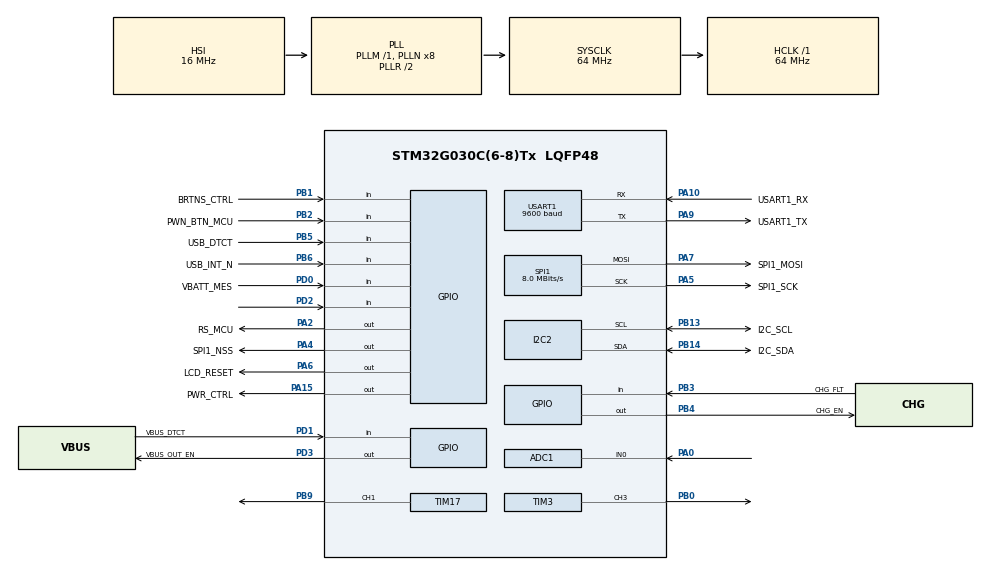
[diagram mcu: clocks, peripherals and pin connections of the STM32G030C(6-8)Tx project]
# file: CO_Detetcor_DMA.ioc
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ADC1.Channel-0\#ChannelRegularConversion=ADC_CHANNEL_0
ADC1.ClockPrescaler=ADC_CLOCK_SYNC_PCLK_DIV4
ADC1.NbrOfConversionFlag=1
ADC1.Rank-0\#ChannelRegularConversion=1
ADC1.SamplingTime-0\#ChannelRegularConversion=ADC_SAMPLINGTIME_COMMON_1
ADC1.SelectedChannel=ADC_CHANNEL_0
ADC1.master=1
Dma.Request0=USART1_RX
Dma.Request1=SPI1_TX
Dma.SPI1_TX.1.Direction=DMA_MEMORY_TO_PERIPH
Dma.SPI1_TX.1.EventEnable=DISABLE
Dma.SPI1_TX.1.Instance=DMA1_Channel2
Dma.SPI1_TX.1.MemDataAlignment=DMA_MDATAALIGN_BYTE
Dma.SPI1_TX.1.MemInc=DMA_MINC_ENABLE
Dma.SPI1_TX.1.Mode=DMA_NORMAL
Dma.SPI1_TX.1.PeriphDataAlignment=DMA_PDATAALIGN_BYTE
Dma.SPI1_TX.1.PeriphInc=DMA_PINC_DISABLE
Dma.SPI1_TX.1.Polarity=HAL_DMAMUX_REQ_GEN_RISING
Dma.SPI1_TX.1.Priority=DMA_PRIORITY_LOW
Dma.SPI1_TX.1.RequestNumber=1
Dma.SPI1_TX.1.SignalID=NONE
Dma.SPI1_TX.1.SyncEnable=DISABLE
Dma.SPI1_TX.1.SyncPolarity=HAL_DMAMUX_SYNC_NO_EVENT
Dma.SPI1_TX.1.SyncRequestNumber=1
Dma.SPI1_TX.1.SyncSignalID=NONE
Dma.USART1_RX.0.Direction=DMA_PERIPH_TO_MEMORY
Dma.USART1_RX.0.EventEnable=DISABLE
Dma.USART1_RX.0.Instance=DMA1_Channel1
Dma.USART1_RX.0.MemDataAlignment=DMA_MDATAALIGN_BYTE
Dma.USART1_RX.0.MemInc=DMA_MINC_ENABLE
Dma.USART1_RX.0.Mode=DMA_CIRCULAR
Dma.USART1_RX.0.PeriphDataAlignment=DMA_PDATAALIGN_BYTE
Dma.USART1_RX.0.PeriphInc=DMA_PINC_DISABLE
Dma.USART1_RX.0.Polarity=HAL_DMAMUX_REQ_GEN_RISING
Dma.USART1_RX.0.Priority=DMA_PRIORITY_LOW
Dma.USART1_RX.0.RequestNumber=1
Dma.USART1_RX.0.SignalID=NONE
Dma.USART1_RX.0.SyncEnable=DISABLE
Dma.USART1_RX.0.SyncPolarity=HAL_DMAMUX_SYNC_NO_EVENT
Dma.USART1_RX.0.SyncRequestNumber=1
Dma.USART1_RX.0.SyncSignalID=NONE
I2C2.Timing=0x10707DBC
IWDG.Prescaler=IWDG_PRESCALER_8
IWDG.Reload=313
Mcu.Family=STM32G0
Mcu.Name=STM32G030C(6-8)Tx
Mcu.Package=LQFP48
NVIC.DMA1_Channel1_IRQn=true\:0\:0\:false\:false\:true\:false\:true\:true
NVIC.DMA1_Channel2_3_IRQn=true\:0\:0\:false\:false\:true\:false\:true\:true
NVIC.RTC_TAMP_IRQn=true\:0\:0\:false\:false\:true\:true\:true\:true
NVIC.USART1_IRQn=true\:0\:0\:false\:false\:true\:true\:true\:true
PA0.Mode=IN0
PA0.Signal=ADC1_IN0
PA10.GPIO_Label=USART1_RX
PA10.Mode=Asynchronous
PA10.Signal=USART1_RX
PA13.Mode=Serial_Wire
PA13.Signal=SYS_SWDIO
PA14-BOOT0.Mode=Serial_Wire
PA14-BOOT0.Signal=SYS_SWCLK
PA15.GPIO_Label=PWR_CTRL
PA15.Signal=GPIO_Output
PA2.GPIO_Label=RS_MCU
PA2.Signal=GPIO_Output
PA4.GPIO_Label=SPI1_NSS
PA4.Signal=GPIO_Output
PA5.GPIO_Label=SPI1_SCK
PA5.Mode=TX_Only_Simplex_Unidirect_Master
PA5.Signal=SPI1_SCK
PA6.GPIO_Label=LCD_RESET
PA6.Signal=GPIO_Output
PA7.GPIO_Label=SPI1_MOSI
PA7.Mode=TX_Only_Simplex_Unidirect_Master
PA7.Signal=SPI1_MOSI
PA9.GPIO_Label=USART1_TX
PA9.Mode=Asynchronous
PA9.Signal=USART1_TX
PB0.Signal=S_TIM3_CH3
PB1.GPIO_Label=BRTNS_CTRL
PB1.Signal=GPIO_Input
PB13.GPIO_Label=I2C_SCL
PB13.Mode=I2C
PB13.Signal=I2C2_SCL
PB14.GPIO_Label=I2C_SDA
PB14.Mode=I2C
PB14.Signal=I2C2_SDA
PB2.GPIO_Label=PWN_BTN_MCU
PB2.GPIO_PuPd=GPIO_PULLDOWN
PB2.Signal=GPIO_Input
PB3.GPIO_Label=CHG_FLT
PB3.Signal=GPIO_Input
PB4.GPIO_Label=CHG_EN
PB4.PinState=GPIO_PIN_RESET
PB4.Signal=GPIO_Output
PB5.GPIO_Label=USB_DTCT
PB5.Signal=GPIO_Input
PB6.GPIO_Label=USB_INT_N
PB6.Signal=GPIO_Input
PB9.Signal=S_TIM17_CH1
PC14-OSC32_IN\ (PC14).Mode=LSE-External-Oscillator
PC14-OSC32_IN\ (PC14).Signal=RCC_OSC32_IN
PC15-OSC32_OUT\ (PC15).Mode=LSE-External-Oscillator
PC15-OSC32_OUT\ (PC15).Signal=RCC_OSC32_OUT
PD0.GPIO_Label=VBATT_MES
PD0.Signal=GPIO_Input
PD1.GPIO_Label=VBUS_DTCT
PD1.Signal=GPIO_Input
PD2.Signal=GPIO_Input
PD3.GPIO_Label=VBUS_OUT_EN
PD3.PinState=GPIO_PIN_SET
PD3.Signal=GPIO_Output
PF0-OSC_IN\ (PF0).Mode=HSE-External-Oscillator
PF0-OSC_IN\ (PF0).Signal=RCC_OSC_IN
PF1-OSC_OUT\ (PF1).Mode=HSE-External-Oscillator
PF1-OSC_OUT\ (PF1).Signal=RCC_OSC_OUT
ProjectManager.HeapSize=0x200
ProjectManager.StackSize=0x400
ProjectManager.TargetToolchain=STM32CubeIDE
RCC.ADCFreq_Value=64000000
RCC.AHBFreq_Value=64000000
RCC.CortexFreq_Value=64000000
RCC.EXTERNAL_CLOCK_VALUE=12288000
RCC.HCLKFreq_Value=64000000
RCC.HSE_VALUE=8000000
RCC.HSI_VALUE=16000000
RCC.SYSCLKFreq_VALUE=64000000
RCC.SYSCLKSource=RCC_SYSCLKSOURCE_PLLCLK
RCC.VCOOutputFreq_Value=128000000
RTC.Alarm-Alarm\ A=RTC_ALARM_A
RTC.Alarm_B-Alarm\ B=RTC_ALARM_B
RTC.HourFormat=RTC_HOURFORMAT_12
SH.S_TIM17_CH1.0=TIM17_CH1,PWM Generation1 CH1
SH.S_TIM3_CH3.0=TIM3_CH3,PWM Generation3 CH3
SPI1.BaudRatePrescaler=SPI_BAUDRATEPRESCALER_8
SPI1.CLKPolarity=SPI_POLARITY_HIGH
SPI1.CalculateBaudRate=8.0 MBits/s
SPI1.Direction=SPI_DIRECTION_2LINES
SPI1.Mode=SPI_MODE_MASTER
SPI1.VirtualType=VM_MASTER
TIM17.Channel=TIM_CHANNEL_1
TIM17.Period=1000
TIM17.Prescaler=32-1
TIM3.AutoReloadPreload=TIM_AUTORELOAD_PRELOAD_ENABLE
TIM3.Channel-PWM\ Generation3\ CH3=TIM_CHANNEL_3
USART1.BaudRate=9600
USART1.VirtualMode-Asynchronous=VM_ASYNC
VP_IWDG_VS_IWDG.Mode=IWDG_Activate
VP_RTC_VS_RTC_Activate.Mode=RTC_Enabled
VP_RTC_VS_RTC_Alarm_A_Intern.Mode=Alarm A
VP_RTC_VS_RTC_Alarm_B_Intern.Mode=Alarm B
VP_RTC_VS_RTC_Calendar.Mode=RTC_Calendar
VP_TIM17_VS_ClockSourceINT.Mode=Enable_Timer
VP_TIM3_VS_ClockSourceINT.Mode=Internal
board=custom

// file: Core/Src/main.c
/* USER CODE BEGIN Header */
/**
  ******************************************************************************
  * @file           : main.c
  * @brief          : Main program body
  ******************************************************************************
  * @attention
  *
  * Copyright (c) 2024 STMicroelectronics.
  * All rights reserved.
  *
  * This software is licensed under terms that can be found in the LICENSE file
  * in the root directory of this software component.
  * If no LICENSE file comes with this software, it is provided AS-IS.
  *
  ******************************************************************************
  */
/* USER CODE END Header */
#include "main.h"

/* USER CODE BEGIN Includes */
#include "app_main.h"

/* USER CODE END Includes */

ADC_HandleTypeDef hadc1;

I2C_HandleTypeDef hi2c2;

IWDG_HandleTypeDef hiwdg;

RTC_HandleTypeDef hrtc;

SPI_HandleTypeDef hspi1;
DMA_HandleTypeDef hdma_spi1_tx;

TIM_HandleTypeDef htim3;
TIM_HandleTypeDef htim17;

UART_HandleTypeDef huart1;
DMA_HandleTypeDef hdma_usart1_rx;

void SystemClock_Config(void);
static void MX_GPIO_Init(void);
static void MX_DMA_Init(void);
static void MX_I2C2_Init(void);
static void MX_SPI1_Init(void);
static void MX_USART1_UART_Init(void);
static void MX_TIM17_Init(void);
static void MX_TIM3_Init(void);
static void MX_ADC1_Init(void);
static void MX_RTC_Init(void);
static void MX_IWDG_Init(void);

int main(void)
{

  /* MCU Configuration--------------------------------------------------------*/

  /* Reset of all peripherals, Initializes the Flash interface and the Systick. */
  HAL_Init();

  /* Configure the system clock */
  SystemClock_Config();

  /* Initialize all configured peripherals */
  MX_GPIO_Init();
  MX_DMA_Init();
  MX_I2C2_Init();
  MX_SPI1_Init();
  MX_USART1_UART_Init();
  MX_TIM17_Init();
  MX_TIM3_Init();
  MX_ADC1_Init();
  MX_RTC_Init();
 MX_IWDG_Init();
  /* USER CODE BEGIN 2 */
//  HAL_IWDG_Refresh(&hiwdg);
  app_main();
  /* USER CODE END 2 */

  /* Infinite loop */
  while (1)
  {

  }
}

void SystemClock_Config(void)
{
  RCC_OscInitTypeDef RCC_OscInitStruct = {0};
  RCC_ClkInitTypeDef RCC_ClkInitStruct = {0};

  /** Configure the main internal regulator output voltage
  */
  HAL_PWREx_ControlVoltageScaling(PWR_REGULATOR_VOLTAGE_SCALE1);

  /** Initializes the RCC Oscillators according to the specified parameters
  * in the RCC_OscInitTypeDef structure.
  */
  RCC_OscInitStruct.OscillatorType = RCC_OSCILLATORTYPE_HSI|RCC_OSCILLATORTYPE_LSI;
  RCC_OscInitStruct.HSIState = RCC_HSI_ON;
  RCC_OscInitStruct.HSIDiv = RCC_HSI_DIV1;
  RCC_OscInitStruct.HSICalibrationValue = RCC_HSICALIBRATION_DEFAULT;
  RCC_OscInitStruct.LSIState = RCC_LSI_ON;
  RCC_OscInitStruct.PLL.PLLState = RCC_PLL_ON;
  RCC_OscInitStruct.PLL.PLLSource = RCC_PLLSOURCE_HSI;
  RCC_OscInitStruct.PLL.PLLM = RCC_PLLM_DIV1;
  RCC_OscInitStruct.PLL.PLLN = 8;
  RCC_OscInitStruct.PLL.PLLP = RCC_PLLP_DIV2;
  RCC_OscInitStruct.PLL.PLLR = RCC_PLLR_DIV2;
  if (HAL_RCC_OscConfig(&RCC_OscInitStruct) != HAL_OK)
  {
    Error_Handler();
  }

  /** Initializes the CPU, AHB and APB buses clocks
  */
  RCC_ClkInitStruct.ClockType = RCC_CLOCKTYPE_HCLK|RCC_CLOCKTYPE_SYSCLK
                              |RCC_CLOCKTYPE_PCLK1;
  RCC_ClkInitStruct.SYSCLKSource = RCC_SYSCLKSOURCE_PLLCLK;
  RCC_ClkInitStruct.AHBCLKDivider = RCC_SYSCLK_DIV1;
  RCC_ClkInitStruct.APB1CLKDivider = RCC_HCLK_DIV1;

  if (HAL_RCC_ClockConfig(&RCC_ClkInitStruct, FLASH_LATENCY_2) != HAL_OK)
  {
    Error_Handler();
  }
}

static void MX_ADC1_Init(void)
{

  ADC_ChannelConfTypeDef sConfig = {0};

  /** Configure the global features of the ADC (Clock, Resolution, Data Alignment and number of conversion)
  */
  hadc1.Instance = ADC1;
  hadc1.Init.ClockPrescaler = ADC_CLOCK_SYNC_PCLK_DIV4;
  hadc1.Init.Resolution = ADC_RESOLUTION_12B;
  hadc1.Init.DataAlign = ADC_DATAALIGN_RIGHT;
  hadc1.Init.ScanConvMode = ADC_SCAN_DISABLE;
  hadc1.Init.EOCSelection = ADC_EOC_SINGLE_CONV;
  hadc1.Init.LowPowerAutoWait = DISABLE;
  hadc1.Init.LowPowerAutoPowerOff = DISABLE;
  hadc1.Init.ContinuousConvMode = DISABLE;
  hadc1.Init.NbrOfConversion = 1;
  hadc1.Init.DiscontinuousConvMode = DISABLE;
  hadc1.Init.ExternalTrigConv = ADC_SOFTWARE_START;
  hadc1.Init.ExternalTrigConvEdge = ADC_EXTERNALTRIGCONVEDGE_NONE;
  hadc1.Init.DMAContinuousRequests = DISABLE;
  hadc1.Init.Overrun = ADC_OVR_DATA_PRESERVED;
  hadc1.Init.SamplingTimeCommon1 = ADC_SAMPLETIME_1CYCLE_5;
  hadc1.Init.SamplingTimeCommon2 = ADC_SAMPLETIME_1CYCLE_5;
  hadc1.Init.OversamplingMode = DISABLE;
  hadc1.Init.TriggerFrequencyMode = ADC_TRIGGER_FREQ_HIGH;
  if (HAL_ADC_Init(&hadc1) != HAL_OK)
  {
    Error_Handler();
  }

  /** Configure Regular Channel
  */
  sConfig.Channel = ADC_CHANNEL_0;
  sConfig.Rank = ADC_REGULAR_RANK_1;
  sConfig.SamplingTime = ADC_SAMPLINGTIME_COMMON_1;
  if (HAL_ADC_ConfigChannel(&hadc1, &sConfig) != HAL_OK)
  {
    Error_Handler();
  }

}

static void MX_I2C2_Init(void)
{

  hi2c2.Instance = I2C2;
  hi2c2.Init.Timing = 0x10707DBC;
  hi2c2.Init.OwnAddress1 = 0;
  hi2c2.Init.AddressingMode = I2C_ADDRESSINGMODE_7BIT;
  hi2c2.Init.DualAddressMode = I2C_DUALADDRESS_DISABLE;
  hi2c2.Init.OwnAddress2 = 0;
  hi2c2.Init.OwnAddress2Masks = I2C_OA2_NOMASK;
  hi2c2.Init.GeneralCallMode = I2C_GENERALCALL_DISABLE;
  hi2c2.Init.NoStretchMode = I2C_NOSTRETCH_DISABLE;
  if (HAL_I2C_Init(&hi2c2) != HAL_OK)
  {
    Error_Handler();
  }

  /** Configure Analogue filter
  */
  if (HAL_I2CEx_ConfigAnalogFilter(&hi2c2, I2C_ANALOGFILTER_ENABLE) != HAL_OK)
  {
    Error_Handler();
  }

  /** Configure Digital filter
  */
  if (HAL_I2CEx_ConfigDigitalFilter(&hi2c2, 0) != HAL_OK)
  {
    Error_Handler();
  }

}

static void MX_IWDG_Init(void)
{

  /* USER CODE BEGIN IWDG_Init 1 */
#ifdef IWDG_Code_Disable
  /* USER CODE END IWDG_Init 1 */
  hiwdg.Instance = IWDG;
  hiwdg.Init.Prescaler = IWDG_PRESCALER_8;
  hiwdg.Init.Window = 4095;
  hiwdg.Init.Reload = 313;
  if (HAL_IWDG_Init(&hiwdg) != HAL_OK)
  {
    Error_Handler();
  }
  /* USER CODE BEGIN IWDG_Init 2 */
#endif
	uint32_t timeout = 0;
	IWDG->KR = 0x0000CCCC;
	IWDG->KR = 0x00005555;
	IWDG->PR = IWDG_PRESCALER_256;
	IWDG->RLR = 500;

	while (IWDG->SR != 0x00000000 && (timeout < 100)) {
		timeout++;
		HAL_Delay(40);
	}
	IWDG->KR = 0x0000AAAA;

  /* USER CODE END IWDG_Init 2 */

}

static void MX_RTC_Init(void)
{

  RTC_TimeTypeDef sTime = {0};
  RTC_DateTypeDef sDate = {0};
  RTC_AlarmTypeDef sAlarm = {0};

  /** Initialize RTC Only
  */
  hrtc.Instance = RTC;
  hrtc.Init.HourFormat = RTC_HOURFORMAT_12;
  hrtc.Init.AsynchPrediv = 127;
  hrtc.Init.SynchPrediv = 255;
  hrtc.Init.OutPut = RTC_OUTPUT_DISABLE;
  hrtc.Init.OutPutRemap = RTC_OUTPUT_REMAP_NONE;
  hrtc.Init.OutPutPolarity = RTC_OUTPUT_POLARITY_HIGH;
  hrtc.Init.OutPutType = RTC_OUTPUT_TYPE_OPENDRAIN;
  hrtc.Init.OutPutPullUp = RTC_OUTPUT_PULLUP_NONE;
  if (HAL_RTC_Init(&hrtc) != HAL_OK)
  {
    Error_Handler();
  }

  /* USER CODE BEGIN Check_RTC_BKUP */
#ifdef RTC_disable
  /* USER CODE END Check_RTC_BKUP */

  /** Initialize RTC and set the Time and Date
  */
  sTime.Hours = 0x1;
  sTime.Minutes = 0x0;
  sTime.Seconds = 0x0;
  sTime.SubSeconds = 0x0;
  sTime.TimeFormat = RTC_HOURFORMAT12_AM;
  sTime.DayLightSaving = RTC_DAYLIGHTSAVING_NONE;
  sTime.StoreOperation = RTC_STOREOPERATION_RESET;
  if (HAL_RTC_SetTime(&hrtc, &sTime, RTC_FORMAT_BCD) != HAL_OK)
  {
    Error_Handler();
  }
  sDate.WeekDay = RTC_WEEKDAY_MONDAY;
  sDate.Month = RTC_MONTH_JANUARY;
  sDate.Date = 0x1;
  sDate.Year = 0x0;

  if (HAL_RTC_SetDate(&hrtc, &sDate, RTC_FORMAT_BCD) != HAL_OK)
  {
    Error_Handler();
  }

  /** Enable the Alarm A
  */
  sAlarm.AlarmTime.Hours = 0x1;
  sAlarm.AlarmTime.Minutes = 0x0;
  sAlarm.AlarmTime.Seconds = 0x0;
  sAlarm.AlarmTime.SubSeconds = 0x0;
  sAlarm.AlarmTime.TimeFormat = RTC_HOURFORMAT12_AM;
  sAlarm.AlarmTime.DayLightSaving = RTC_DAYLIGHTSAVING_NONE;
  sAlarm.AlarmTime.StoreOperation = RTC_STOREOPERATION_RESET;
  sAlarm.AlarmMask = RTC_ALARMMASK_NONE;
  sAlarm.AlarmSubSecondMask = RTC_ALARMSUBSECONDMASK_ALL;
  sAlarm.AlarmDateWeekDaySel = RTC_ALARMDATEWEEKDAYSEL_DATE;
  sAlarm.AlarmDateWeekDay = 0x1;
  sAlarm.Alarm = RTC_ALARM_A;
  if (HAL_RTC_SetAlarm_IT(&hrtc, &sAlarm, RTC_FORMAT_BCD) != HAL_OK)
  {
    Error_Handler();
  }

  /** Enable the Alarm B
  */
  sAlarm.Alarm = RTC_ALARM_B;
  if (HAL_RTC_SetAlarm_IT(&hrtc, &sAlarm, RTC_FORMAT_BCD) != HAL_OK)
  {
    Error_Handler();
  }
  /* USER CODE BEGIN RTC_Init 2 */
#endif
  /* USER CODE END RTC_Init 2 */

}

static void MX_SPI1_Init(void)
{

  /* SPI1 parameter configuration*/
  hspi1.Instance = SPI1;
  hspi1.Init.Mode = SPI_MODE_MASTER;
  hspi1.Init.Direction = SPI_DIRECTION_2LINES;
  hspi1.Init.DataSize = SPI_DATASIZE_8BIT;
  hspi1.Init.CLKPolarity = SPI_POLARITY_HIGH;
  hspi1.Init.CLKPhase = SPI_PHASE_1EDGE;
  hspi1.Init.NSS = SPI_NSS_SOFT;
  hspi1.Init.BaudRatePrescaler = SPI_BAUDRATEPRESCALER_8;
  hspi1.Init.FirstBit = SPI_FIRSTBIT_MSB;
  hspi1.Init.TIMode = SPI_TIMODE_DISABLE;
  hspi1.Init.CRCCalculation = SPI_CRCCALCULATION_DISABLE;
  hspi1.Init.CRCPolynomial = 7;
  hspi1.Init.CRCLength = SPI_CRC_LENGTH_DATASIZE;
  hspi1.Init.NSSPMode = SPI_NSS_PULSE_ENABLE;
  if (HAL_SPI_Init(&hspi1) != HAL_OK)
  {
    Error_Handler();
  }

}

static void MX_TIM3_Init(void)
{

  TIM_ClockConfigTypeDef sClockSourceConfig = {0};
  TIM_MasterConfigTypeDef sMasterConfig = {0};
  TIM_OC_InitTypeDef sConfigOC = {0};

  htim3.Instance = TIM3;
  htim3.Init.Prescaler = 0;
  htim3.Init.CounterMode = TIM_COUNTERMODE_UP;
  htim3.Init.Period = 65535;
  htim3.Init.ClockDivision = TIM_CLOCKDIVISION_DIV1;
  htim3.Init.AutoReloadPreload = TIM_AUTORELOAD_PRELOAD_ENABLE;
  if (HAL_TIM_Base_Init(&htim3) != HAL_OK)
  {
    Error_Handler();
  }
  sClockSourceConfig.ClockSource = TIM_CLOCKSOURCE_INTERNAL;
  if (HAL_TIM_ConfigClockSource(&htim3, &sClockSourceConfig) != HAL_OK)
  {
    Error_Handler();
  }
  if (HAL_TIM_PWM_Init(&htim3) != HAL_OK)
  {
    Error_Handler();
  }
  sMasterConfig.MasterOutputTrigger = TIM_TRGO_RESET;
  sMasterConfig.MasterSlaveMode = TIM_MASTERSLAVEMODE_DISABLE;
  if (HAL_TIMEx_MasterConfigSynchronization(&htim3, &sMasterConfig) != HAL_OK)
  {
    Error_Handler();
  }
  sConfigOC.OCMode = TIM_OCMODE_PWM1;
  sConfigOC.Pulse = 0;
  sConfigOC.OCPolarity = TIM_OCPOLARITY_HIGH;
  sConfigOC.OCFastMode = TIM_OCFAST_DISABLE;
  if (HAL_TIM_PWM_ConfigChannel(&htim3, &sConfigOC, TIM_CHANNEL_3) != HAL_OK)
  {
    Error_Handler();
  }
  HAL_TIM_MspPostInit(&htim3);

}

static void MX_TIM17_Init(void)
{

  TIM_OC_InitTypeDef sConfigOC = {0};
  TIM_BreakDeadTimeConfigTypeDef sBreakDeadTimeConfig = {0};

  htim17.Instance = TIM17;
  htim17.Init.Prescaler = 32-1;
  htim17.Init.CounterMode = TIM_COUNTERMODE_UP;
  htim17.Init.Period = 1000;
  htim17.Init.ClockDivision = TIM_CLOCKDIVISION_DIV1;
  htim17.Init.RepetitionCounter = 0;
  htim17.Init.AutoReloadPreload = TIM_AUTORELOAD_PRELOAD_DISABLE;
  if (HAL_TIM_Base_Init(&htim17) != HAL_OK)
  {
    Error_Handler();
  }
  if (HAL_TIM_PWM_Init(&htim17) != HAL_OK)
  {
    Error_Handler();
  }
  sConfigOC.OCMode = TIM_OCMODE_PWM1;
  sConfigOC.Pulse = 0;
  sConfigOC.OCPolarity = TIM_OCPOLARITY_HIGH;
  sConfigOC.OCNPolarity = TIM_OCNPOLARITY_HIGH;
  sConfigOC.OCFastMode = TIM_OCFAST_DISABLE;
  sConfigOC.OCIdleState = TIM_OCIDLESTATE_RESET;
  sConfigOC.OCNIdleState = TIM_OCNIDLESTATE_RESET;
  if (HAL_TIM_PWM_ConfigChannel(&htim17, &sConfigOC, TIM_CHANNEL_1) != HAL_OK)
  {
    Error_Handler();
  }
  sBreakDeadTimeConfig.OffStateRunMode = TIM_OSSR_DISABLE;
  sBreakDeadTimeConfig.OffStateIDLEMode = TIM_OSSI_DISABLE;
  sBreakDeadTimeConfig.LockLevel = TIM_LOCKLEVEL_OFF;
  sBreakDeadTimeConfig.DeadTime = 0;
  sBreakDeadTimeConfig.BreakState = TIM_BREAK_DISABLE;
  sBreakDeadTimeConfig.BreakPolarity = TIM_BREAKPOLARITY_HIGH;
  sBreakDeadTimeConfig.BreakFilter = 0;
  sBreakDeadTimeConfig.AutomaticOutput = TIM_AUTOMATICOUTPUT_DISABLE;
  if (HAL_TIMEx_ConfigBreakDeadTime(&htim17, &sBreakDeadTimeConfig) != HAL_OK)
  {
    Error_Handler();
  }
  HAL_TIM_MspPostInit(&htim17);

}

static void MX_USART1_UART_Init(void)
{

  huart1.Instance = USART1;
  huart1.Init.BaudRate = 9600;
  huart1.Init.WordLength = UART_WORDLENGTH_8B;
  huart1.Init.StopBits = UART_STOPBITS_1;
  huart1.Init.Parity = UART_PARITY_NONE;
  huart1.Init.Mode = UART_MODE_TX_RX;
  huart1.Init.HwFlowCtl = UART_HWCONTROL_NONE;
  huart1.Init.OverSampling = UART_OVERSAMPLING_16;
  huart1.Init.OneBitSampling = UART_ONE_BIT_SAMPLE_DISABLE;
  huart1.Init.ClockPrescaler = UART_PRESCALER_DIV1;
  huart1.AdvancedInit.AdvFeatureInit = UART_ADVFEATURE_NO_INIT;
  if (HAL_UART_Init(&huart1) != HAL_OK)
  {
    Error_Handler();
  }
  if (HAL_UARTEx_SetTxFifoThreshold(&huart1, UART_TXFIFO_THRESHOLD_1_8) != HAL_OK)
  {
    Error_Handler();
  }
  if (HAL_UARTEx_SetRxFifoThreshold(&huart1, UART_RXFIFO_THRESHOLD_1_8) != HAL_OK)
  {
    Error_Handler();
  }
  if (HAL_UARTEx_DisableFifoMode(&huart1) != HAL_OK)
  {
    Error_Handler();
  }

}

static void MX_DMA_Init(void)
{

  /* DMA controller clock enable */
  __HAL_RCC_DMA1_CLK_ENABLE();

  /* DMA interrupt init */
  /* DMA1_Channel1_IRQn interrupt configuration */
  HAL_NVIC_SetPriority(DMA1_Channel1_IRQn, 0, 0);
  HAL_NVIC_EnableIRQ(DMA1_Channel1_IRQn);
  /* DMA1_Channel2_3_IRQn interrupt configuration */
  HAL_NVIC_SetPriority(DMA1_Channel2_3_IRQn, 0, 0);
  HAL_NVIC_EnableIRQ(DMA1_Channel2_3_IRQn);

}

static void MX_GPIO_Init(void)
{
  GPIO_InitTypeDef GPIO_InitStruct = {0};

  /* GPIO Ports Clock Enable */
  __HAL_RCC_GPIOC_CLK_ENABLE();
  __HAL_RCC_GPIOF_CLK_ENABLE();
  __HAL_RCC_GPIOA_CLK_ENABLE();
  __HAL_RCC_GPIOB_CLK_ENABLE();
  __HAL_RCC_GPIOD_CLK_ENABLE();

  /*Configure GPIO pin Output Level */
  HAL_GPIO_WritePin(GPIOA, RS_MCU_Pin|SPI1_NSS_Pin|LCD_RESET_Pin|PWR_CTRL_Pin, GPIO_PIN_RESET);

  /*Configure GPIO pin Output Level */
  HAL_GPIO_WritePin(VBUS_OUT_EN_GPIO_Port, VBUS_OUT_EN_Pin, GPIO_PIN_SET);

  /*Configure GPIO pin Output Level */
  HAL_GPIO_WritePin(CHG_EN_GPIO_Port, CHG_EN_Pin, GPIO_PIN_RESET);

  /*Configure GPIO pins : RS_MCU_Pin SPI1_NSS_Pin LCD_RESET_Pin PWR_CTRL_Pin */
  GPIO_InitStruct.Pin = RS_MCU_Pin|SPI1_NSS_Pin|LCD_RESET_Pin|PWR_CTRL_Pin;
  GPIO_InitStruct.Mode = GPIO_MODE_OUTPUT_PP;
  GPIO_InitStruct.Pull = GPIO_NOPULL;
  GPIO_InitStruct.Speed = GPIO_SPEED_FREQ_LOW;
  HAL_GPIO_Init(GPIOA, &GPIO_InitStruct);

  /*Configure GPIO pins : BRTNS_CTRL_Pin CHG_FLT_Pin USB_DTCT_Pin USB_INT_N_Pin */
  GPIO_InitStruct.Pin = BRTNS_CTRL_Pin|CHG_FLT_Pin|USB_DTCT_Pin|USB_INT_N_Pin;
  GPIO_InitStruct.Mode = GPIO_MODE_INPUT;
  GPIO_InitStruct.Pull = GPIO_NOPULL;
  HAL_GPIO_Init(GPIOB, &GPIO_InitStruct);

  /*Configure GPIO pin : PWN_BTN_MCU_Pin */
  GPIO_InitStruct.Pin = PWN_BTN_MCU_Pin;
  GPIO_InitStruct.Mode = GPIO_MODE_INPUT;
  GPIO_InitStruct.Pull = GPIO_PULLDOWN;
  HAL_GPIO_Init(PWN_BTN_MCU_GPIO_Port, &GPIO_InitStruct);

  /*Configure GPIO pins : VBATT_MES_Pin VBUS_DTCT_Pin PD2 */
  GPIO_InitStruct.Pin = VBATT_MES_Pin|VBUS_DTCT_Pin|GPIO_PIN_2;
  GPIO_InitStruct.Mode = GPIO_MODE_INPUT;
  GPIO_InitStruct.Pull = GPIO_NOPULL;
  HAL_GPIO_Init(GPIOD, &GPIO_InitStruct);

  /*Configure GPIO pin : VBUS_OUT_EN_Pin */
  GPIO_InitStruct.Pin = VBUS_OUT_EN_Pin;
  GPIO_InitStruct.Mode = GPIO_MODE_OUTPUT_PP;
  GPIO_InitStruct.Pull = GPIO_NOPULL;
  GPIO_InitStruct.Speed = GPIO_SPEED_FREQ_LOW;
  HAL_GPIO_Init(VBUS_OUT_EN_GPIO_Port, &GPIO_InitStruct);

  /*Configure GPIO pin : CHG_EN_Pin */
  GPIO_InitStruct.Pin = CHG_EN_Pin;
  GPIO_InitStruct.Mode = GPIO_MODE_OUTPUT_PP;
  GPIO_InitStruct.Pull = GPIO_NOPULL;
  GPIO_InitStruct.Speed = GPIO_SPEED_FREQ_LOW;
  HAL_GPIO_Init(CHG_EN_GPIO_Port, &GPIO_InitStruct);

/* USER CODE BEGIN MX_GPIO_Init_2 */
  HAL_GPIO_WritePin(PWR_CTRL_GPIO_Port, PWR_CTRL_Pin, 1);
/* USER CODE END MX_GPIO_Init_2 */
}

void Error_Handler(void)
{
  __disable_irq();
  while (1)
  {
  }
}
